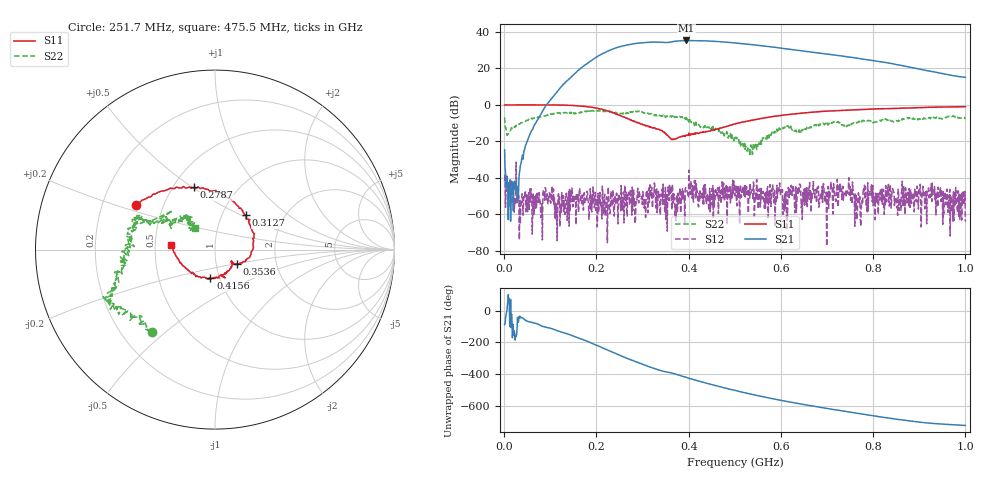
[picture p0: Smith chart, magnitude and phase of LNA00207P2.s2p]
! Created with skrf 1.9.0 (http://scikit-rf.org).
# Hz S RI R 50.0
!freq ReS11 ImS11 ReS21 ImS21 ReS12 ImS12 ReS22 ImS22
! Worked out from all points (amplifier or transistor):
!   1001 points, 1 MHz to 1 GHz, reference 50 ohm
!   highest |S21| = 35.2 dB at 394.6 MHz (marker M1)
!   |S21| within 3 dB of that: 257.2 MHz to 561.2 MHz (304 MHz wide, 74.3 % of centre)
!   unconditionally stable (mu >= 1): start of sweep to 88.8 MHz; 277.7 MHz to 400.3 MHz; 401.2 MHz to end of sweep (the widest 3 of 25)
!   at 166.8 MHz: K = 1.23, MAG = 33.5 dB, |S12| = -52.6 dB
!   at 500.5 MHz: K = 2.86, MAG = 34.5 dB, |S12| = -49.8 dB
!   at 1 GHz: K = 23.70, MAG = 22.8 dB, |S12| = -64.0 dB
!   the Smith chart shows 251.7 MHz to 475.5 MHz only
!   S11 on the Smith chart (normalised r, x): 251.7 MHz: 0.35, +0.23; 278.7 MHz: 0.63, +0.51; 312.7 MHz: 1.30, +0.53; 353.6 MHz: 1.26, -0.21; 415.6 MHz: 0.91, -0.29; 475.5 MHz: 0.61, +0.04
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1000000  0.9879 0.00609  0.0034 -0.0584  -0.0064 -0.00479  0.2968 0.3441
1.07893e8  0.5111 -0.8509  -0.8097 -1.578  0.00136 -0.00133  0.4503 -0.3699
1.67833e8  -0.2618 -0.8843  -10.45 -0.3168  0.00247 0.00227  0.0551 -0.6297
2.12788e8  -0.6836 -0.3115  -14.96 19.98  -0.00498 -0.00326  -0.1946 -0.6612
2.31769e8  -0.6344 0.000117  -6.84 31.45  -0.00344 -0.00265  -0.2887 -0.5787
2.51749e8  -0.4424 0.2469  8.665 38.23  -0.00159 -0.00134  -0.353 -0.46
2.78722e8  -0.1167 0.3467  32.88 32.85  -0.00118 0.000468  -0.561 -0.3316
3.12688e8  0.1735 0.1907  50.95 6.884  -0.000705 0.00369  -0.5478 -0.1579
3.34666e8  0.2148 0.0114  50.53 -12.49  -0.00178 0.00362  -0.4908 -0.0616
3.53647e8  0.122 -0.0798  44.79 -23.96  0.000248 0.000245  -0.4861 0.0703
3.72628e8  0.0948 -0.0706  41.84 -36.57  -0.00061 0.000256  -0.4503 0.1493
3.94606e8  0.0608 -0.1339  27.48 -50.92  -0.00146 0.00465  -0.4114 0.1722
4.15585e8  -0.0252 -0.1577  10.57 -56.55  -0.00267 0.000487  -0.2791 0.1913
4.43557e8  -0.1511 -0.1106  -11.97 -54.34  0.00164 -0.000283  -0.1585 0.1892
4.75525e8  -0.2424 0.0274  -31.49 -42.16  0.00721 0.00068  -0.1119 0.1195
5.005e8  -0.2568 0.1526  -40.51 -28.94  -0.00265 0.00183  -0.1062 0.0806
5.36464e8  -0.181 0.3313  -43.54 -8.574  0.00448 0.000714  -0.066 0.01
5.83417e8  0.0132 0.4784  -36.02 11.61  0.00304 -0.000132  -0.1485 -0.0806
6.67333e8  0.4007 0.4823  -12.64 24.43  0.00166 -0.00182  -0.2478 -0.0384
7.53247e8  0.669 0.2737  4.768 19.28  -0.00292 0.000206  -0.3095 0.0252
8.34166e8  0.7871 0.023  10.62 8.958  -0.000411 -0.002  -0.3838 0.0321
1e9  0.7292 -0.5114  5.622 -0.6375  0.000273 -0.000568  -0.3037 0.3218
